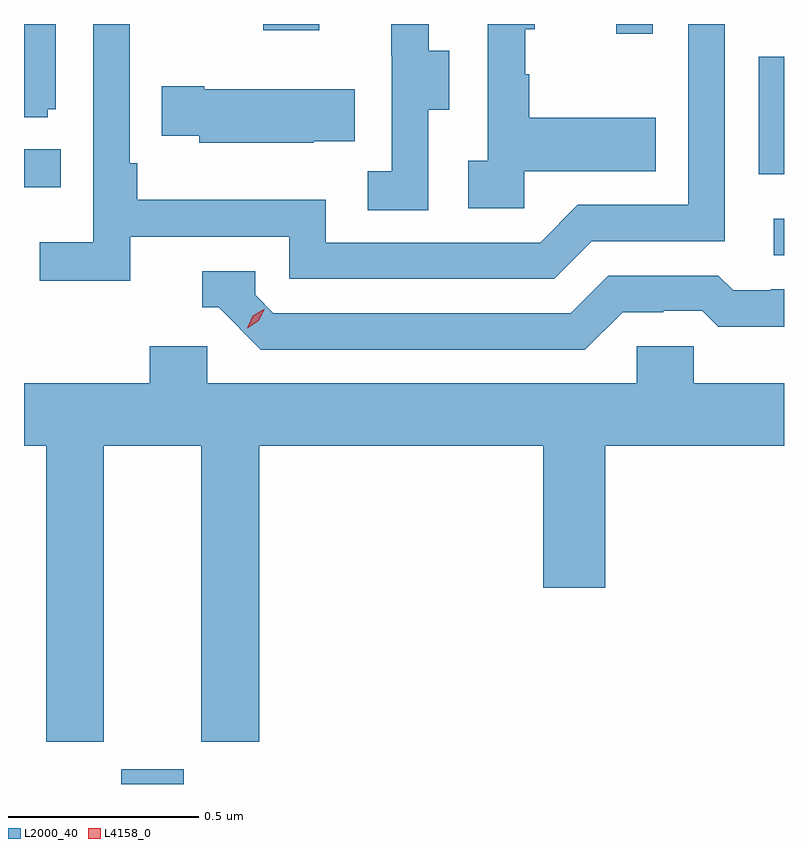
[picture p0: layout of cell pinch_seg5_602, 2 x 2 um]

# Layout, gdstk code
import gdstk
lib = gdstk.Library(unit=1e-6, precision=1e-09)
def R(c, l, rs):  # rectangles x0, y0, x1, y1
    for r in rs: c.add(gdstk.rectangle(r[:2], r[2:], *l))
def P(c, l, *ps):  # polygons
    for p in ps: c.add(gdstk.Polygon(p, *l))
L2000_40 = (2000, 40)
L4158_0 = (4158, 0)

pinch_seg5_602 = lib.new_cell('pinch_seg5_602')
R(pinch_seg5_602, L2000_40, [(1086.974,859.866,1087.138,859.905), (1088.691,861.258,1088.718,861.354), (1086.718,861.437,1086.815,861.536), (1088.652,861.471,1088.718,861.78), (1088.276,861.84,1088.373,861.866), (1087.348,861.849,1087.495,861.866)])
P(pinch_seg5_602, L2000_40, [(1086.998,861.306),(1087.416,861.306),(1087.416,861.195),(1088.113,861.195),(1088.212,861.294),(1088.562,861.294),(1088.562,861.866),(1088.466,861.866),(1088.466,861.39),(1088.175,861.39),(1088.076,861.291),(1087.512,861.291),(1087.512,861.403),(1087.016,861.403),(1087.016,861.499),(1086.996,861.499),(1086.996,861.866),(1086.9,861.866),(1086.9,861.292),(1086.759,861.292),(1086.759,861.19),(1086.998,861.19)],
  [(1087.782,861.64),(1087.837,861.64),(1087.837,861.795),(1087.783,861.795),(1087.783,861.866),(1087.685,861.866),(1087.685,861.783),(1087.686,861.783),(1087.686,861.479),(1087.623,861.479),(1087.623,861.376),(1087.782,861.376)],
  [(1088.034,861.479),(1088.381,861.479),(1088.381,861.619),(1088.047,861.619),(1088.047,861.734),(1088.037,861.734),(1088.037,861.852),(1088.062,861.852),(1088.062,861.866),(1087.938,861.866),(1087.938,861.506),(1087.887,861.506),(1087.887,861.381),(1088.034,861.381)],
  [(1086.78,861.642),(1086.802,861.642),(1086.802,861.866),(1086.718,861.866),(1086.718,861.621),(1086.78,861.621)],
  [(1087.481,861.557),(1087.589,861.557),(1087.589,861.694),(1087.192,861.694),(1087.192,861.702),(1087.081,861.702),(1087.081,861.572),(1087.179,861.572),(1087.179,861.554),(1087.481,861.554)],
  [(1088.293,861.108),(1088.4,861.108),(1088.4,861.111),(1088.503,861.111),(1088.545,861.069),(1088.718,861.069),(1088.718,861.168),(1088.683,861.168),(1088.683,861.165),(1088.584,861.165),(1088.545,861.204),(1088.256,861.204),(1088.157,861.105),(1087.374,861.105),(1087.326,861.153),(1087.326,861.216),(1087.187,861.216),(1087.187,861.12),(1087.23,861.12),(1087.341,861.009),(1088.194,861.009)],
  [(1086.928,860.756),(1087.184,860.756),(1087.184,859.977),(1087.337,859.977),(1087.337,860.756),(1088.084,860.756),(1088.084,860.382),(1088.248,860.382),(1088.248,860.756),(1088.718,860.756),(1088.718,860.92),(1088.481,860.92),(1088.481,861.018),(1088.331,861.018),(1088.331,860.92),(1087.2,860.92),(1087.2,861.018),(1087.049,861.018),(1087.049,860.92),(1086.718,860.92),(1086.718,860.756),(1086.776,860.756),(1086.776,859.977),(1086.928,859.977)])
P(pinch_seg5_602, L4158_0, [(1087.305,861.065),(1087.305,861.066),(1087.32,861.098),(1087.351,861.117),(1087.351,861.117),(1087.351,861.117),(1087.336,861.085),(1087.305,861.065)])

lib.write_gds('pinch_seg5_602.gds')
